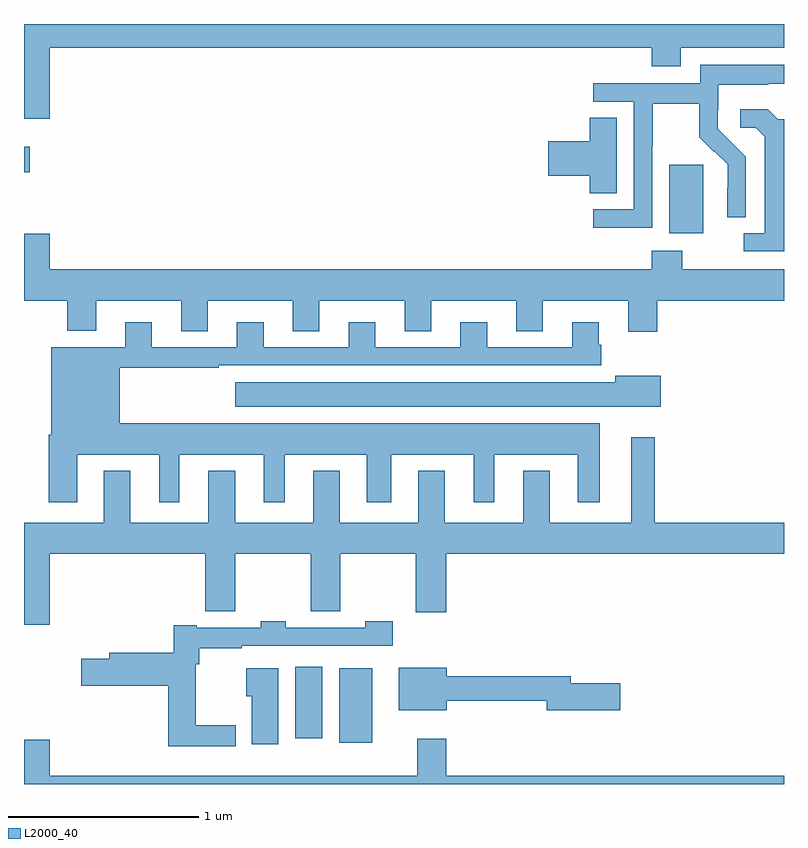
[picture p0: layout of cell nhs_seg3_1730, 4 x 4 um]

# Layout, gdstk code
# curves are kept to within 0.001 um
import gdstk
lib = gdstk.Library(unit=1e-6, precision=1e-09)
def R(c, l, rs):  # rectangles x0, y0, x1, y1
    for r in rs: c.add(gdstk.rectangle(r[:2], r[2:], *l))
def P(c, l, *ps):  # polygons
    for p in ps: c.add(gdstk.Polygon(p, *l))
L2000_40 = (2000, 40)

nhs_seg3_1730 = lib.new_cell('nhs_seg3_1730')
R(nhs_seg3_1730, L2000_40, [(202.658,670.616,202.834,671.008), (202.427,670.641,202.57,671.017), (204.395,673.298,204.574,673.659), (201,673.619,201.031,673.753)])
P(nhs_seg3_1730, L2000_40, [(201.136,674.276),(204.305,674.276),(204.305,674.177),(204.457,674.177),(204.457,674.276),(205,674.276),(205,674.4),(201,674.4),(201,673.902),(201.136,673.902)],
  [(204.306,673.756),(204.309,673.756),(204.309,673.98),(204.553,673.98),(204.553,673.805),(204.63,673.728),(204.633,673.731),(204.704,673.661),(204.704,673.538),(204.702,673.538),(204.702,673.384),(204.798,673.384),(204.798,673.702),(204.652,673.85),(204.652,673.947),(204.654,673.947),(204.654,674.081),(204.917,674.081),(204.917,674.085),(205,674.085),(205,674.185),(204.558,674.185),(204.558,674.088),(203.997,674.088),(203.997,673.992),(204.21,673.992),(204.21,673.425),(203.997,673.425),(203.997,673.327),(204.306,673.327)],
  [(205,673.899),(204.966,673.899),(204.914,673.951),(204.771,673.951),(204.771,673.854),(204.852,673.854),(204.899,673.807),(204.899,673.299),(204.789,673.299),(204.789,673.203),(205,673.203)],
  [(204.121,673.907),(203.978,673.907),(203.978,673.784),(203.76,673.784),(203.76,673.601),(203.978,673.601),(203.978,673.51),(204.121,673.51)],
  [(204.332,672.944),(205,672.944),(205,673.108),(204.465,673.108),(204.465,673.207),(204.305,673.207),(204.305,673.108),(201.136,673.108),(201.136,673.297),(201,673.297),(201,672.944),(201.227,672.944),(201.227,672.785),(201.379,672.785),(201.379,672.944),(201.827,672.944),(201.827,672.784),(201.967,672.784),(201.967,672.944),(202.415,672.944),(202.415,672.784),(202.555,672.784),(202.555,672.944),(203.003,672.944),(203.003,672.784),(203.143,672.784),(203.143,672.944),(203.591,672.944),(203.591,672.784),(203.731,672.784),(203.731,672.944),(204.179,672.944),(204.179,672.78),(204.332,672.78)],
  [(201.28,672.134),(201.713,672.134),(201.713,671.883),(201.817,671.883),(201.817,672.134),(202.262,672.134),(202.262,671.883),(202.372,671.883),(202.372,672.134),(202.805,672.134),(202.805,671.883),(202.933,671.883),(202.933,672.134),(203.366,672.134),(203.366,671.883),(203.476,671.883),(203.476,672.134),(203.915,672.134),(203.915,671.883),(204.031,671.883),(204.031,672.298),(201.505,672.298),(201.505,672.591),(202.025,672.591),(202.025,672.603),(204.038,672.603),(204.038,672.711),(204.025,672.711),(204.025,672.829),(203.885,672.829),(203.885,672.699),(203.437,672.699),(203.437,672.829),(203.297,672.829),(203.297,672.699),(202.849,672.699),(202.849,672.829),(202.709,672.829),(202.709,672.699),(202.261,672.699),(202.261,672.829),(202.121,672.829),(202.121,672.699),(201.673,672.699),(201.673,672.829),(201.533,672.829),(201.533,672.7),(201.143,672.7),(201.143,672.238),(201.131,672.238),(201.131,671.883),(201.28,671.883)],
  [(204.352,672.55),(204.113,672.55),(204.113,672.514),(202.113,672.514),(202.113,672.386),(204.352,672.386)],
  [(201.136,671.612),(201.953,671.612),(201.953,671.308),(202.112,671.308),(202.112,671.612),(202.51,671.612),(202.51,671.308),(202.664,671.308),(202.664,671.612),(203.062,671.612),(203.062,671.304),(203.222,671.304),(203.222,671.612),(205,671.612),(205,671.776),(204.319,671.776),(204.319,672.226),(204.197,672.226),(204.197,671.776),(203.767,671.776),(203.767,672.049),(203.627,672.049),(203.627,671.776),(203.215,671.776),(203.215,672.049),(203.075,672.049),(203.075,671.776),(202.663,671.776),(202.663,672.049),(202.523,672.049),(202.523,671.776),(202.111,671.776),(202.111,672.049),(201.971,672.049),(201.971,671.776),(201.559,671.776),(201.559,672.049),(201.419,672.049),(201.419,671.776),(201,671.776),(201,671.238),(201.136,671.238)],
  [(202.114,670.708),(201.904,670.708),(201.904,671.03),(201.923,671.03),(201.923,671.115),(202.145,671.115),(202.145,671.127),(202.942,671.127),(202.942,671.256),(202.797,671.256),(202.797,671.223),(202.377,671.223),(202.377,671.256),(202.245,671.256),(202.245,671.223),(201.91,671.223),(201.91,671.236),(201.787,671.236),(201.787,671.09),(201.449,671.09),(201.449,671.06),(201.3,671.06),(201.3,670.918),(201.758,670.918),(201.758,670.598),(202.114,670.598)],
  [(203.224,670.839),(203.75,670.839),(203.75,670.789),(204.139,670.789),(204.139,670.931),(203.878,670.931),(203.878,670.967),(203.224,670.967),(203.224,671.011),(202.973,671.011),(202.973,670.787),(203.224,670.787)],
  [(202.339,671.008),(202.169,671.008),(202.169,670.861),(202.199,670.861),(202.199,670.608),(202.339,670.608)],
  [(205,670.444),(203.222,670.444),(203.222,670.639),(203.069,670.639),(203.069,670.444),(201.136,670.444),(201.136,670.633),(201,670.633),(201,670.4),(205,670.4)])

lib.write_gds('nhs_seg3_1730.gds')
